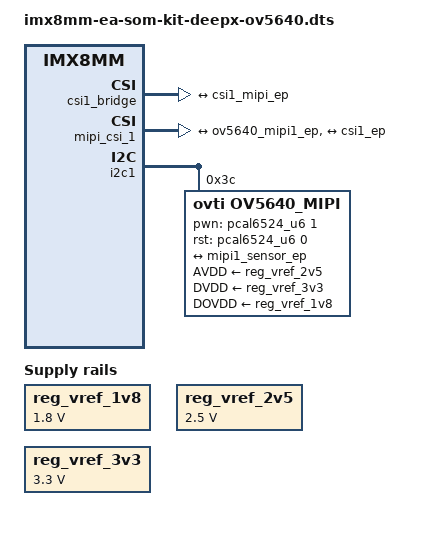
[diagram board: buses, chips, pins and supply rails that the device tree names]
/*
 * Copyright 2025 Embedded Artists AB
 *
 * The code contained herein is licensed under the GNU General Public
 * License. You may obtain a copy of the GNU General Public License
 * Version 2 or later at the following locations:
 *
 * http://www.opensource.org/licenses/gpl-license.html
 * http://www.gnu.org/copyleft/gpl.html
 */

/* For using onboard DeepX module with mipi camera OV5640.
   PCIe on Carrier Board not available.
   SDIO in M.2 key E connector on Carrier Board not available.
*/
/dts-v1/;

#include "imx8mm-ea-som-kit-deepx.dts"

/ {

	regulators {
		compatible = "simple-bus";

		reg_vref_1v8: regulator-vref-1v8 {
			compatible = "regulator-fixed";
			regulator-name = "vref-1v8";
			regulator-min-microvolt = <1800000>;
			regulator-max-microvolt = <1800000>;
		};

		reg_vref_2v5: regulator-vref-2v5 {
			compatible = "regulator-fixed";
			regulator-name = "vref-2v5";
			regulator-min-microvolt = <2500000>;
			regulator-max-microvolt = <2500000>;
		};

		reg_vref_3v3: regulator-vref-3v3 {
			compatible = "regulator-fixed";
			regulator-name = "vref-3v3";
			regulator-min-microvolt = <3300000>;
			regulator-max-microvolt = <3300000>;
		};
	};
};

&csi1_bridge {
	fsl,mipi-mode;
	status = "okay";
	port {
		csi1_ep: endpoint {
			remote-endpoint = <&csi1_mipi_ep>;
		};
	};
};

&mipi_csi_1 {
	#address-cells = <1>;
	#size-cells = <0>;
	status = "okay";
	port {
		mipi1_sensor_ep: endpoint@1 {
			remote-endpoint = <&ov5640_mipi1_ep>;
			data-lanes = <2>;
			csis-hs-settle = <13>;
			csis-clk-settle = <2>;
			csis-wclk;
		};

		csi1_mipi_ep: endpoint@2 {
			remote-endpoint = <&csi1_ep>;
		};
	};
};


&i2c1 {
	ov5640_mipi: ov5640_mipi@3c {
		compatible = "ovti,ov5640_mipi";
		reg = <0x3c>;
		status = "okay";
		clocks = <&clk IMX8MM_CLK_DUMMY>;
		clock-names = "csi_mclk";
		csi_id = <0>;

		AVDD-supply = <&reg_vref_2v5>;
		DVDD-supply = <&reg_vref_3v3>;
		DOVDD-supply = <&reg_vref_1v8>;

		pwn-gpios = <&pcal6524_u6 1 GPIO_ACTIVE_HIGH>;  /* CSI0_PWR-CLK */
		rst-gpios = <&pcal6524_u6 0 GPIO_ACTIVE_HIGH>;  /* CSI0_RST-DATA */
		mclk = <12000000>;
		mclk_source = <0>;
		port {
			ov5640_mipi1_ep: endpoint {
				remote-endpoint = <&mipi1_sensor_ep>;
			};
		};
	};
};

&pcal6524_u6 {
	/delete-node/ hog_CSI0_RST_DATA;
	/delete-node/ hog_CSI0_PWR_CLK;
};
